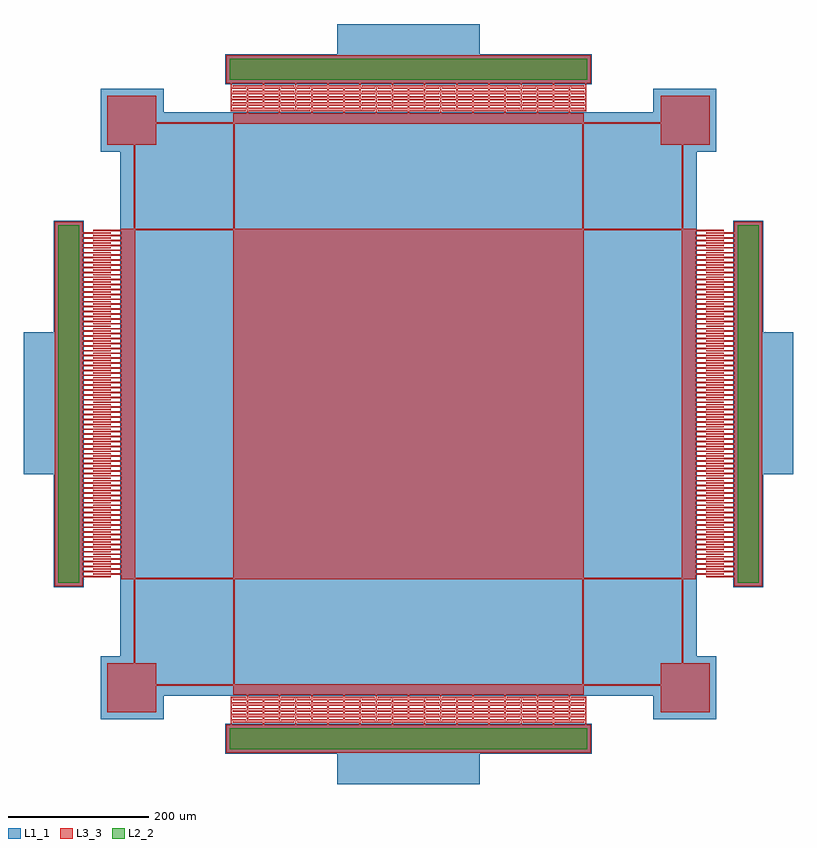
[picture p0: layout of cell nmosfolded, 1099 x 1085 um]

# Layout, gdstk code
import gdstk
lib = gdstk.Library(unit=1e-6, precision=1e-09)
def R(c, l, rs):  # rectangles x0, y0, x1, y1
    for r in rs: c.add(gdstk.rectangle(r[:2], r[2:], *l))
def A(c, l, x, y, w, h, nx, ny, dx, dy):  # array of equal rectangles
    R(c, l, [(x+i*dx, y+j*dy, x+i*dx+w, y+j*dy+h) for i in range(nx) for j in range(ny)])
L1_1 = (1, 1)
L2_2 = (2, 2)
L3_3 = (3, 3)

nmosfolded = lib.new_cell('nmosfolded')
R(nmosfolded, L1_1, [(-101.5,-542.5,101.5,-499.5), (-101.5,-542.5,101.5,-499.5), (-101.5,-542.5,101.5,-499.5), (-261.5,-499.5,261.5,-456.5), (-261.5,-499.5,261.5,-456.5), (-439.5,-450,-349.5,-360), (349.5,-450,439.5,-360), (-411.5,-416.5,411.5,416.5), (-506.5,-261.5,-463.5,261.5), (463.5,-261.5,506.5,261.5), (-549.5,-100.5,-506.5,102.5), (506.5,-100.5,549.5,102.5), (-439.5,360,-349.5,450), (349.5,360,439.5,450), (-261.5,456.5,261.5,499.5), (-101.5,499.5,101.5,542.5), (-101.5,499.5,101.5,542.5)])
R(nmosfolded, L2_2, [(-255,-493,0,-463), (0,-493,255,-463), (-500,-255,-470,255), (470,-255,500,255), (-255,463,0,493), (0,463,255,493)])
A(nmosfolded, L3_3, -254, -458, 2, 40, 12, 2, 46, 876)
A(nmosfolded, L3_3, -251, -455, 42, 2, 6, 5, 46, 8)
A(nmosfolded, L3_3, -231, -455, 2, 40, 6, 2, 46, 870)
A(nmosfolded, L3_3, -21, -455, 42, 2, 6, 5, 46, 8)
A(nmosfolded, L3_3, -1, -455, 2, 40, 6, 2, 46, 870)
A(nmosfolded, L3_3, -252, -452, 20, 2, 1, 5, 0, 8)
A(nmosfolded, L3_3, -228, -452, 42, 2, 10, 5, 46, 8)
A(nmosfolded, L3_3, 232, -452, 20, 2, 1, 5, 0, 8)
A(nmosfolded, L3_3, -465, -247, 40, 2, 1, 30, 0, 7)
A(nmosfolded, L3_3, 425, -247, 40, 2, 1, 71, 0, 7)
A(nmosfolded, L3_3, -450, -243.5, 40, 2, 1, 29, 0, 7)
A(nmosfolded, L3_3, 410, -243.5, 40, 2, 1, 71, 0, 7)
A(nmosfolded, L3_3, -252, 418, 20, 2, 1, 5, 0, 8)
A(nmosfolded, L3_3, -228, 418, 42, 2, 10, 5, 46, 8)
A(nmosfolded, L3_3, 232, 418, 20, 2, 1, 5, 0, 8)
A(nmosfolded, L3_3, -251, 421, 42, 2, 6, 5, 46, 8)
A(nmosfolded, L3_3, -21, 421, 42, 2, 6, 5, 46, 8)
R(nmosfolded, L3_3, [(-260,-498,0,-458), (0,-498,260,-458), (-430,-440,-360,-370), (360,-440,430,-370), (-250,-415,0,-400), (0,-415,250,-400), (-360,-402,-250,-400), (250,-402,360,-400), (-250,-400,-248,-250), (248,-400,250,-250), (-392,-370,-390,-250), (390,-370,392,-250), (-505,-260,-465,260), (465,-260,505,260), (-410,-250,-390,250), (-390,-250,-250,-248), (-250,-250,250,250), (250,-250,390,-248), (390,-250,410,250), (-450,-47.5,-410,-45.5), (-465,-44,-425,-42), (-450,-40.5,-410,-38.5), (-450,-40.5,-410,-38.5), (-465,-37,-425,-35), (-465,-37,-425,-35), (-450,-33.5,-410,-31.5), (-450,-33.5,-410,-31.5), (-465,-30,-425,-28), (-465,-30,-425,-28), (-450,-26.5,-410,-24.5), (-450,-26.5,-410,-24.5), (-465,-23,-425,-21), (-465,-23,-425,-21), (-450,-19.5,-410,-17.5), (-450,-19.5,-410,-17.5), (-465,-16,-425,-14), (-465,-16,-425,-14), (-450,-12.5,-410,-10.5), (-450,-12.5,-410,-10.5), (-465,-9,-425,-7), (-465,-9,-425,-7), (-450,-5.5,-410,-3.5), (-450,-5.5,-410,-3.5), (-465,-2,-425,0), (-465,-2,-425,0), (-450,1.5,-410,3.5), (-450,1.5,-410,3.5), (-465,5,-425,7), (-465,5,-425,7), (-450,8.5,-410,10.5), (-450,8.5,-410,10.5), (-465,12,-425,14), (-465,12,-425,14), (-450,15.5,-410,17.5), (-450,15.5,-410,17.5), (-465,19,-425,21), (-465,19,-425,21), (-450,22.5,-410,24.5), (-450,22.5,-410,24.5), (-465,26,-425,28), (-465,26,-425,28), (-450,29.5,-410,31.5), (-450,29.5,-410,31.5), (-465,33,-425,35), (-465,33,-425,35), (-450,36.5,-410,38.5), (-450,36.5,-410,38.5), (-465,40,-425,42), (-465,40,-425,42), (-450,43.5,-410,45.5), (-450,43.5,-410,45.5), (-465,47,-425,49), (-465,47,-425,49), (-450,50.5,-410,52.5), (-450,50.5,-410,52.5), (-465,54,-425,56), (-465,54,-425,56), (-450,57.5,-410,59.5), (-450,57.5,-410,59.5), (-465,61,-425,63), (-465,61,-425,63), (-450,64.5,-410,66.5), (-450,64.5,-410,66.5), (-465,68,-425,70), (-465,68,-425,70), (-450,71.5,-410,73.5), (-450,71.5,-410,73.5), (-465,75,-425,77), (-465,75,-425,77), (-450,78.5,-410,80.5), (-450,78.5,-410,80.5), (-465,82,-425,84), (-465,82,-425,84), (-450,85.5,-410,87.5), (-450,85.5,-410,87.5), (-465,89,-425,91), (-465,89,-425,91), (-450,92.5,-410,94.5), (-450,92.5,-410,94.5), (-465,96,-425,98), (-465,96,-425,98), (-450,99.5,-410,101.5), (-450,99.5,-410,101.5), (-465,103,-425,105), (-465,103,-425,105), (-450,106.5,-410,108.5), (-450,106.5,-410,108.5), (-465,110,-425,112), (-465,110,-425,112), (-450,113.5,-410,115.5), (-450,113.5,-410,115.5), (-465,117,-425,119), (-465,117,-425,119), (-450,120.5,-410,122.5), (-450,120.5,-410,122.5), (-465,124,-425,126), (-465,124,-425,126), (-450,127.5,-410,129.5), (-450,127.5,-410,129.5), (-465,131,-425,133), (-465,131,-425,133), (-450,134.5,-410,136.5), (-450,134.5,-410,136.5), (-465,138,-425,140), (-465,138,-425,140), (-450,141.5,-410,143.5), (-450,141.5,-410,143.5), (-465,145,-425,147), (-465,145,-425,147), (-450,148.5,-410,150.5), (-450,148.5,-410,150.5), (-465,152,-425,154), (-465,152,-425,154), (-450,155.5,-410,157.5), (-450,155.5,-410,157.5), (-465,159,-425,161), (-465,159,-425,161), (-450,162.5,-410,164.5), (-450,162.5,-410,164.5), (-465,166,-425,168), (-465,166,-425,168), (-450,169.5,-410,171.5), (-450,169.5,-410,171.5), (-465,173,-425,175), (-465,173,-425,175), (-450,176.5,-410,178.5), (-450,176.5,-410,178.5), (-465,180,-425,182), (-465,180,-425,182), (-450,183.5,-410,185.5), (-450,183.5,-410,185.5), (-465,187,-425,189), (-465,187,-425,189), (-450,190.5,-410,192.5), (-450,190.5,-410,192.5), (-465,194,-425,196), (-465,194,-425,196), (-450,197.5,-410,199.5), (-450,197.5,-410,199.5), (-465,201,-425,203), (-465,201,-425,203), (-450,204.5,-410,206.5), (-450,204.5,-410,206.5), (-465,208,-425,210), (-465,208,-425,210), (-450,211.5,-410,213.5), (-450,211.5,-410,213.5), (-465,215,-425,217), (-465,215,-425,217), (-450,218.5,-410,220.5), (-450,218.5,-410,220.5), (-465,222,-425,224), (-465,222,-425,224), (-450,225.5,-410,227.5), (-450,225.5,-410,227.5), (-465,229,-425,231), (-465,229,-425,231), (-450,232.5,-410,234.5), (-450,232.5,-410,234.5), (-465,236,-425,238), (-465,236,-425,238), (-450,239.5,-410,241.5), (-450,239.5,-410,241.5), (-465,243,-425,245), (-465,243,-425,245), (-465,243,-425,245), (-465,243,-425,245), (425,243,465,245), (-450,246.5,-410,248.5), (-450,246.5,-410,248.5), (-450,246.5,-410,248.5), (-450,246.5,-410,248.5), (410,246.5,450,248.5), (-390,248,-250,250), (250,248,390,250), (-392,250,-390,370), (-250,250,-248,400), (248,250,250,400), (390,250,392,370), (-430,370,-360,440), (360,370,430,440), (-360,400,-250,402), (-250,400,0,415), (0,400,250,415), (250,400,360,402), (-260,458,0,498), (0,458,260,498)])

lib.write_gds('nmosfolded.gds')
